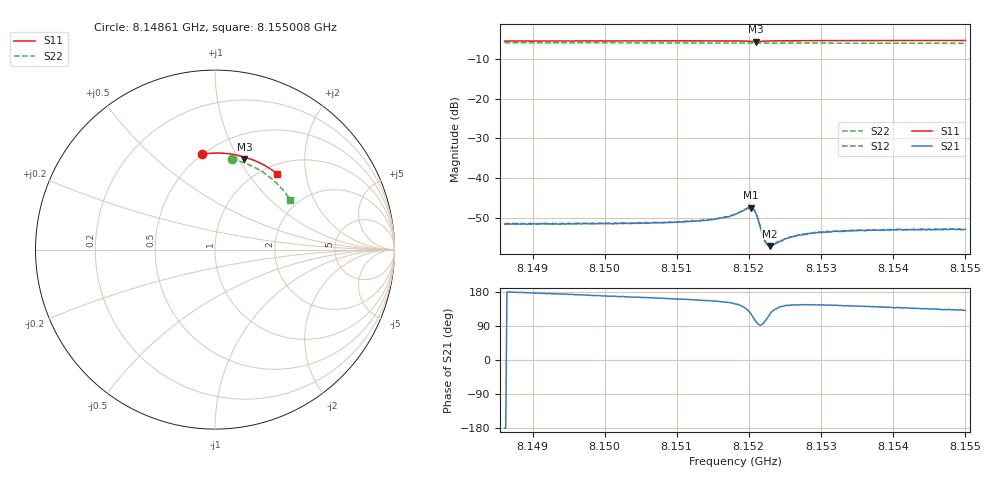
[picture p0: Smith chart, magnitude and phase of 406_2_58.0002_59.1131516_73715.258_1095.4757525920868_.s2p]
#  HZ  S  RI  R  50.00
! Rohde & Schwarz Vector Network Analyzer
! Rohde-Schwarz,ZNB20-2Port,1311601062101988,3.16
! Created: UTC 3/21/2024, 1:08:27 AM
! freq[Hz]  re:S11  im:S11  re:S21  im:S21  re:S12  im:S12  re:S22  im:S22
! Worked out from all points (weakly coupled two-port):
!   401 points, 8.14861 GHz to 8.155008 GHz, reference 50 ohm
!   highest |S21| = -47.51 dB at 8.152033 GHz (marker M1); lowest = -57.2 dB at 8.152289 GHz (marker M2)
!   lowest |S11| = -5.5 dB at 8.152097 GHz (marker M3), VSWR 3.24, Z = 37.8 + j52.8 ohm
!   |S11| at or under -10 dB: nowhere
!   |S22| runs from -6.0 to -5.8 dB; largest |S21 - S12| = 0.00012
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8.1486103e9  -0.0705 0.5315  -0.00261 -1.38e-05  -0.00263 4.39e-05  0.0928 0.5031
8.149682e9  0.0038 0.5381  -0.00259 0.00037  -0.00267 0.000463  0.1597 0.4846
8.1507536e9  0.0784 0.5341  -0.00259 0.000791  -0.00261 0.000853  0.223 0.4573
8.1513934e9  0.1231 0.5265  -0.00267 0.00115  -0.0027 0.00121  0.2586 0.4371
8.1515534e9  0.1344 0.5236  -0.00276 0.00128  -0.00275 0.00133  0.2671 0.4316
8.1517133e9  0.1459 0.5203  -0.00287 0.00153  -0.00287 0.00156  0.2755 0.4257
8.1518093e9  0.1532 0.5178  -0.00296 0.00184  -0.00292 0.00187  0.2807 0.4223
8.1519693e9  0.1644 0.5099  -0.00284 0.0029  -0.00283 0.00297  0.2889 0.4162
8.1520332e9  0.166 0.5047  -0.00216 0.00362  -0.00212 0.00365  0.2919 0.4137
8.1520652e9  0.1653 0.5028  -0.00146 0.00374  -0.00147 0.00378  0.2934 0.4124
8.1520972e9  0.1637 0.5026  -0.00077 0.00351  -0.000728 0.0036  0.295 0.4114
8.1521292e9  0.163 0.5039  -0.000272 0.00301  -0.000215 0.00302  0.2964 0.4103
8.1521932e9  0.1657 0.5078  -0.000177 0.0019  -0.000144 0.00192  0.2999 0.4079
8.1522252e9  0.1683 0.5088  -0.000344 0.00154  -0.000316 0.00159  0.3014 0.4068
8.1522572e9  0.171 0.5094  -0.000502 0.00133  -0.000512 0.00134  0.3031 0.4055
8.1522892e9  0.1738 0.5096  -0.00068 0.0012  -0.000682 0.00119  0.3046 0.4042
8.1523372e9  0.1778 0.5095  -0.000909 0.00108  -0.00091 0.00111  0.3071 0.4023
8.1525771e9  0.196 0.5052  -0.00144 0.00105  -0.00147 0.00107  0.3189 0.3927
8.152881e9  0.2168 0.4975  -0.00166 0.00112  -0.00164 0.00113  0.3333 0.3797
8.1531849e9  0.2366 0.4892  -0.00173 0.00123  -0.00172 0.00125  0.3473 0.3666
8.1539527e9  0.284 0.4647  -0.00166 0.00143  -0.00165 0.00146  0.3799 0.3308
8.1550083e9  0.3443 0.424  -0.00147 0.0017  -0.00145 0.00168  0.4183 0.2773
